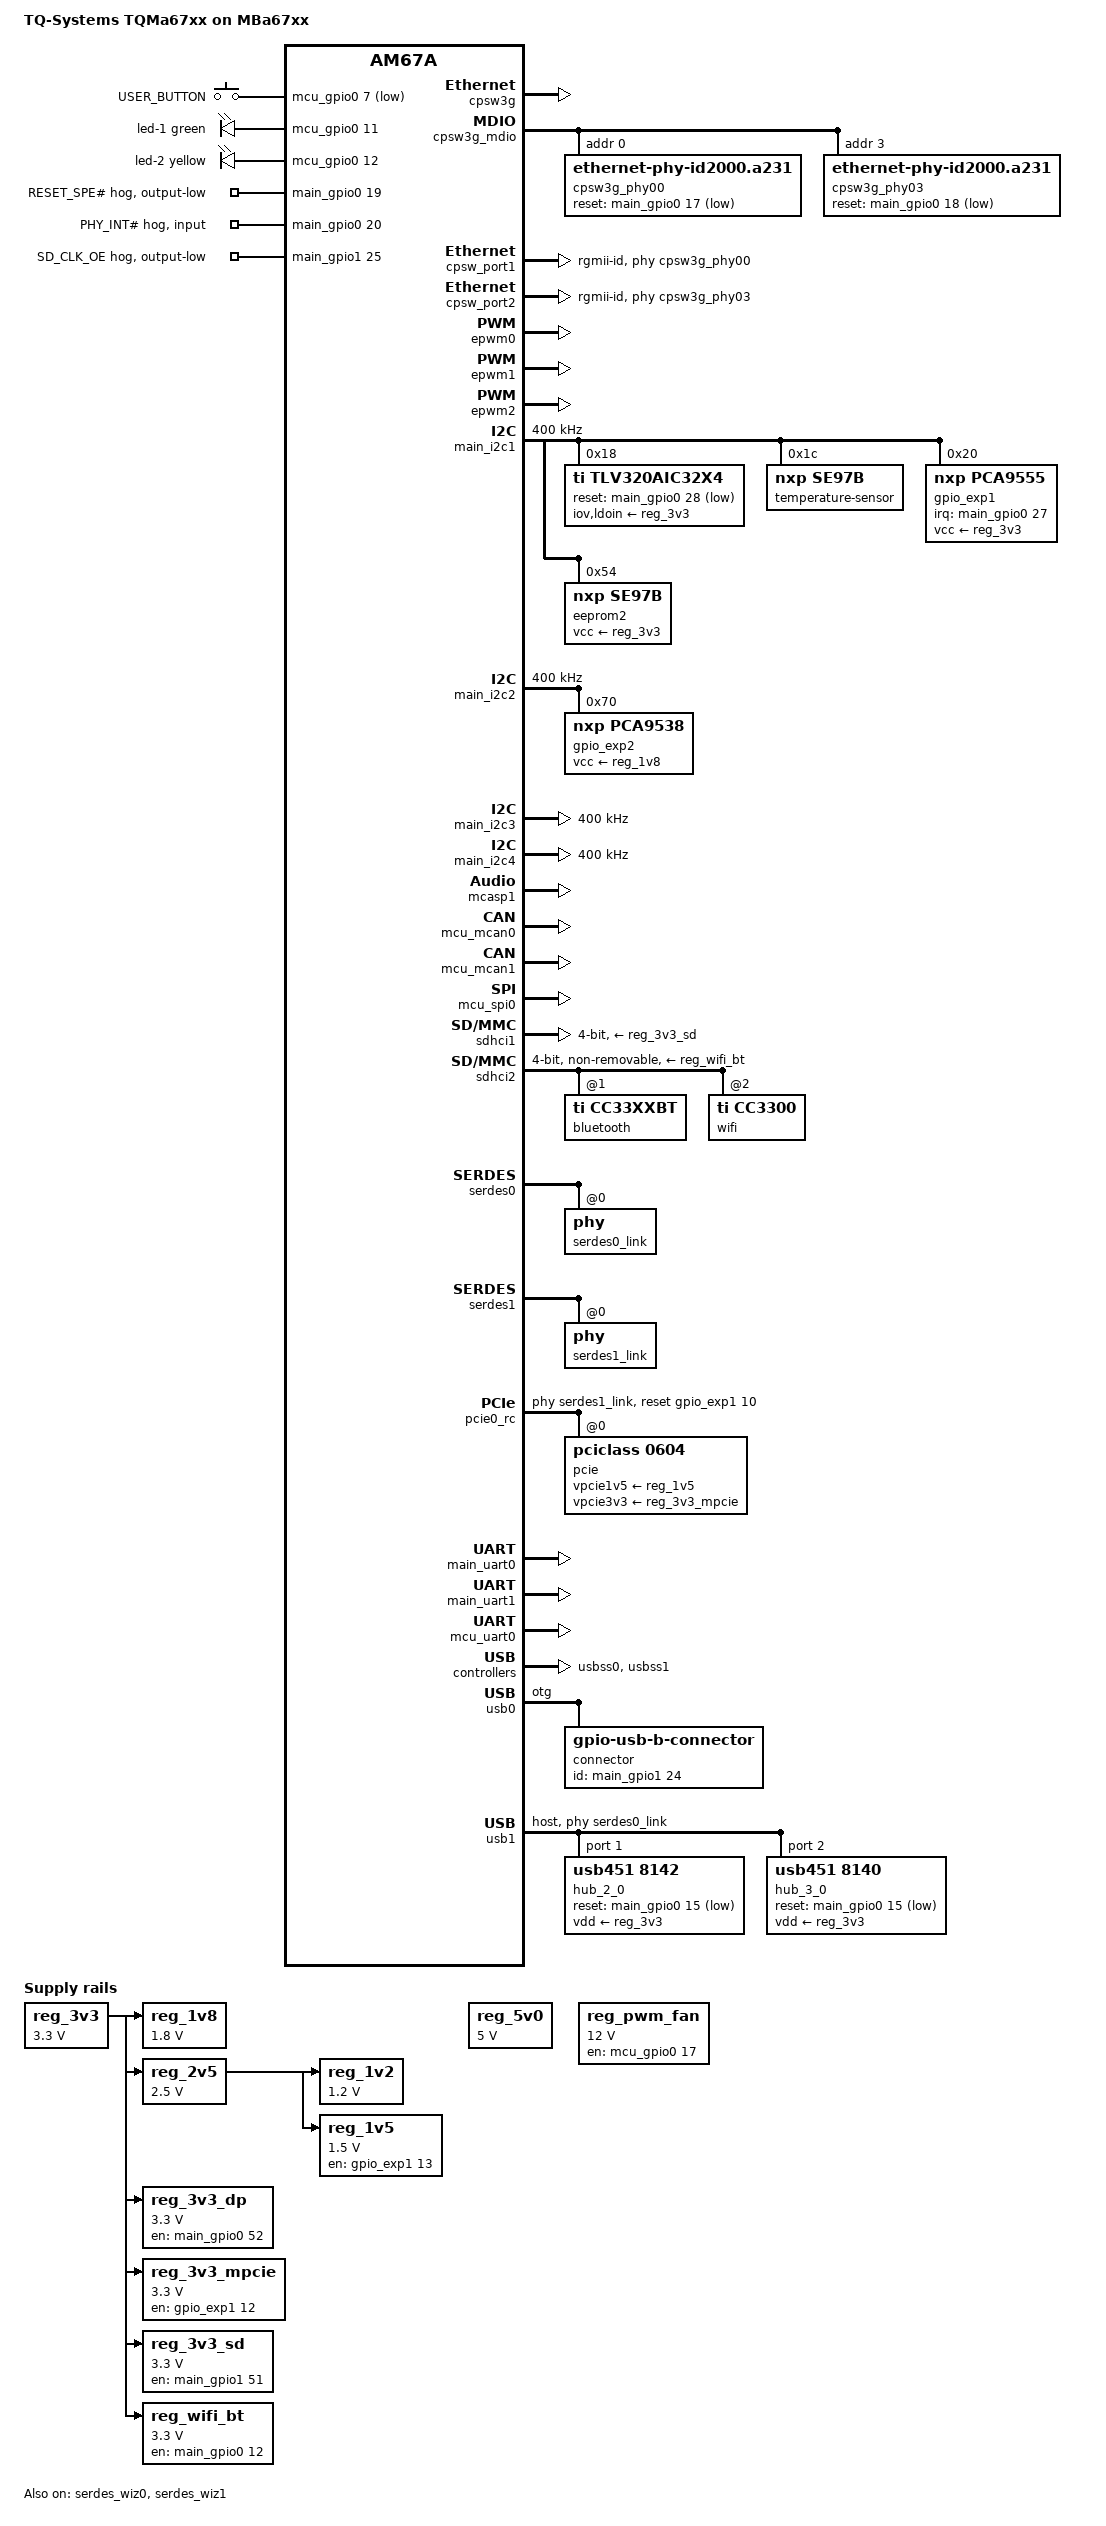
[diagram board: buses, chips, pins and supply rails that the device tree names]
// SPDX-License-Identifier: GPL-2.0-only OR MIT
/*
 * Copyright (C) 2024 Texas Instruments Incorporated - https://www.ti.com/
 * Copyright (c) 2025-2026 TQ-Systems GmbH <linux@ew.tq-group.com>, D-82229 Seefeld, Germany.
 * Author: Nora Schiffer
 */

/dts-v1/;

#include <dt-bindings/input/input.h>
#include <dt-bindings/leds/common.h>
#include <dt-bindings/net/ti-dp83867.h>
#include <dt-bindings/phy/phy.h>
#include <dt-bindings/pwm/pwm.h>
#include "k3-am67a-tqma67xx.dtsi"
#include "k3-serdes.h"

/ {
	compatible = "tq,am67a-tqma6754-mba67xx", "tq,am67a-tqma6754", "ti,j722s";
	model = "TQ-Systems TQMa67xx on MBa67xx";

	aliases {
		can0 = &mcu_mcan0;
		can1 = &mcu_mcan1;
		ethernet0 = &cpsw_port2;
		ethernet1 = &cpsw_port1;
		i2c2 = &main_i2c1;
		i2c3 = &main_i2c2;
		i2c4 = &main_i2c3;
		i2c5 = &main_i2c4;
		mmc1 = &sdhci1;
		serial0 = &main_uart0;
		serial1 = &mcu_uart0;
		serial2 = &main_uart1;
		spi1 = &mcu_spi0;
	};

	chosen {
		stdout-path = &main_uart0;
	};

	backlight: backlight {
		compatible = "pwm-backlight";
		pinctrl-names = "default";
		pinctrl-0 = <&backlight_pins>;
		enable-gpios = <&main_gpio0 22 GPIO_ACTIVE_HIGH>;
		status = "disabled";
	};

	gpio-keys {
		compatible = "gpio-keys";
		pinctrl-names = "default";
		pinctrl-0 = <&gpio_key_pins>;

		user-button {
			label = "USER_BUTTON";
			linux,code = <BTN_0>;
			gpios = <&mcu_gpio0 7 GPIO_ACTIVE_LOW>;
		};
	};

	gpio-leds {
		compatible = "gpio-leds";
		pinctrl-names = "default";
		pinctrl-0 = <&gpio_led_pins>;

		led-1 {
			gpios = <&mcu_gpio0 11 GPIO_ACTIVE_HIGH>;
			color = <LED_COLOR_ID_GREEN>;
			function = LED_FUNCTION_INDICATOR;
		};

		led-2 {
			gpios = <&mcu_gpio0 12 GPIO_ACTIVE_HIGH>;
			color = <LED_COLOR_ID_YELLOW>;
			function = LED_FUNCTION_INDICATOR;
		};
	};

	panel_lvds: panel-lvds {
		pinctrl-names = "default";
		pinctrl-0 = <&lvds_panel_pins>;
		enable-gpios = <&main_gpio0 25 GPIO_ACTIVE_HIGH>;
		reset-gpios = <&main_gpio0 21 GPIO_ACTIVE_LOW>;
		status = "disabled";
	};

	fan0: pwm-fan {
		compatible = "pwm-fan";
		pinctrl-names = "default";
		pinctrl-0 = <&pwm_fan_pins>, <&pwm_fan_mcu_pins>;
		#cooling-cells = <2>;
		/* typical 16 kHz -> 62.500 nsec */
		cooling-levels = <0 32 64 128 196 240>;
		fan-supply = <&reg_pwm_fan>;
		interrupt-parent = <&mcu_gpio0>;
		interrupts = <18 IRQ_TYPE_EDGE_FALLING>;
		pulses-per-revolution = <2>;
		pwms = <&epwm1 0 62500 PWM_POLARITY_INVERTED>;
		status = "disabled";
	};

	reg_1v2: regulator-1v2 {
		/* AP7361E-FGE */
		compatible = "regulator-fixed";
		regulator-min-microvolt = <1200000>;
		regulator-max-microvolt = <1200000>;
		regulator-name = "V_1V2_MBA";
		vin-supply = <&reg_2v5>;
	};

	reg_1v5: regulator-1v5 {
		/* AP7361E-FGE */
		compatible = "regulator-fixed";
		enable-active-high;
		gpio = <&gpio_exp1 13 GPIO_ACTIVE_HIGH>;
		regulator-min-microvolt = <1500000>;
		regulator-max-microvolt = <1500000>;
		regulator-name = "V_1V5_MBA";
		vin-supply = <&reg_2v5>;
	};

	reg_1v8: regulator-1v8 {
		/* TPS62825ADMQ */
		bootph-all;
		compatible = "regulator-fixed";
		regulator-always-on;
		regulator-boot-on;
		regulator-min-microvolt = <1800000>;
		regulator-max-microvolt = <1800000>;
		regulator-name = "V_1V8_MBA";
		vin-supply = <&reg_3v3>;
	};

	reg_2v5: regulator-2v5 {
		/* TPS62825ADMQ */
		compatible = "regulator-fixed";
		regulator-min-microvolt = <2500000>;
		regulator-max-microvolt = <2500000>;
		regulator-name = "V_2V5_MBA";
		vin-supply = <&reg_3v3>;
	};

	reg_3v3: regulator-3v3 {
		/* TPS568330RJE */
		bootph-all;
		compatible = "regulator-fixed";
		regulator-always-on;
		regulator-boot-on;
		regulator-min-microvolt = <3300000>;
		regulator-max-microvolt = <3300000>;
		regulator-name = "V_3V3_MBA";
	};

	reg_3v3_dp: regulator-3v3-dp {
		/* TPS22950YBH */
		compatible = "regulator-fixed";
		pinctrl-names = "default";
		pinctrl-0 = <&reg_3v3_dp_pins>;
		enable-active-high;
		gpio = <&main_gpio0 52 GPIO_ACTIVE_HIGH>;
		regulator-always-on;
		regulator-min-microvolt = <3300000>;
		regulator-max-microvolt = <3300000>;
		regulator-name = "V_3V3_DP";
		vin-supply = <&reg_3v3>;
	};

	reg_3v3_mpcie: regulator-3v3-mpcie {
		/* TPS22950YBH */
		compatible = "regulator-fixed";
		enable-active-high;
		gpio = <&gpio_exp1 12 GPIO_ACTIVE_HIGH>;
		regulator-min-microvolt = <3300000>;
		regulator-max-microvolt = <3300000>;
		regulator-name = "V_3V3_MPCIE";
		vin-supply = <&reg_3v3>;
	};

	reg_3v3_sd: regulator-3v3-sd {
		/* TPS22963CYZTP */
		bootph-all;
		compatible = "regulator-fixed";
		pinctrl-names = "default";
		pinctrl-0 = <&reg_3v3_sd_pins>;
		enable-active-high;
		gpio = <&main_gpio1 51 GPIO_ACTIVE_HIGH>;
		regulator-boot-on;
		regulator-min-microvolt = <3300000>;
		regulator-max-microvolt = <3300000>;
		regulator-name = "V_3V3_SD";
		vin-supply = <&reg_3v3>;
	};

	reg_5v0: regulator-5v0 {
		/* TPS568330RJE */
		bootph-all;
		compatible = "regulator-fixed";
		regulator-always-on;
		regulator-boot-on;
		regulator-min-microvolt = <5000000>;
		regulator-max-microvolt = <5000000>;
		regulator-name = "V_5V0_MBA";
	};

	reg_pwm_fan: regulator-pwm-fan {
		compatible = "regulator-fixed";
		pinctrl-names = "default";
		pinctrl-0 = <&reg_pwm_fan_pins>;
		enable-active-high;
		gpio = <&mcu_gpio0 17 GPIO_ACTIVE_HIGH>;
		regulator-name = "FAN_PWR";
		regulator-min-microvolt = <12000000>;
		regulator-max-microvolt = <12000000>;
	};

	reg_wifi_bt: regulator-wifi-bt {
		compatible = "regulator-fixed";
		pinctrl-names = "default";
		pinctrl-0 = <&reg_wifi_bt_pins>;
		enable-active-high;
		gpio = <&main_gpio0 12 GPIO_ACTIVE_HIGH>;
		regulator-min-microvolt = <3300000>;
		regulator-max-microvolt = <3300000>;
		regulator-name = "WIFI-BT_EN";
		startup-delay-us = <1000>; /* HW init grace period */
		vin-supply = <&reg_3v3>;
	};

	sound: sound {
		compatible = "simple-audio-card";
		simple-audio-card,name = "tqm-tlv320aic32";
		simple-audio-card,widgets =
			"Line Out",	"Line Out",
			"Line In",	"Line In",
			"Microphone",	"Microphone Jack";
		simple-audio-card,routing =
			"Line Out",		"LOL",
			"Line Out",		"LOR",
			"IN1_L",		"Line In",
			"IN1_R",		"Line In",
			"IN3_L",		"Microphone Jack",
			"Microphone Jack",	"Mic Bias";
		simple-audio-card,format = "i2s";
		simple-audio-card,bitclock-master = <&sound_master>;
		simple-audio-card,frame-master = <&sound_master>;

		simple-audio-card,cpu {
			sound-dai = <&mcasp1>;
		};

		sound_master: simple-audio-card,codec {
			sound-dai = <&tlv320aic32x4>;
			clocks = <&audio_refclk1>;
		};
	};
};

&cpsw3g {
	pinctrl-names = "default";
	pinctrl-0 = <&rgmii1_pins &rgmii2_pins>;
	status = "okay";
};

&cpsw3g_mdio {
	pinctrl-names = "default";
	pinctrl-0 = <&mdio_pins>;
	status = "okay";

	cpsw3g_phy00: ethernet-phy@0 {
		compatible = "ethernet-phy-id2000.a231", "ethernet-phy-ieee802.3-c22";
		reg = <0x0>;
		reset-gpios = <&main_gpio0 17 GPIO_ACTIVE_LOW>;
		reset-assert-us = <1000>;
		reset-deassert-us = <1000>;
		ti,fifo-depth = <DP83867_PHYCR_FIFO_DEPTH_4_B_NIB>;
		ti,clk-output-sel = <DP83867_CLK_O_SEL_OFF>;
		/* LED0: 1Gbit/s, LED2: link+activity */
		ti,led-function = <0x0b05>;
		/* LED0/2: active high, driven by PHY function */
		ti,led-ctrl = <0x1414>;
		ti,no-powerdown;
	};

	cpsw3g_phy03: ethernet-phy@3 {
		compatible = "ethernet-phy-id2000.a231", "ethernet-phy-ieee802.3-c22";
		reg = <0x3>;
		reset-gpios = <&main_gpio0 18 GPIO_ACTIVE_LOW>;
		reset-assert-us = <1000>;
		reset-deassert-us = <1000>;
		ti,fifo-depth = <DP83867_PHYCR_FIFO_DEPTH_4_B_NIB>;
		ti,clk-output-sel = <DP83867_CLK_O_SEL_OFF>;
		/* LED0: 1Gbit/s, LED2: link+activity */
		ti,led-function = <0x0b05>;
		/* LED0/2: active high, driven by PHY function */
		ti,led-ctrl = <0x1414>;
		ti,no-powerdown;
	};

	cpsw3g_phy0c: ethernet-phy@c {
		compatible = "ethernet-phy-id2000.a284", "ethernet-phy-ieee802.3-c22";
		reg = <0xc>;
		reset-gpios = <&main_gpio0 19 GPIO_ACTIVE_LOW>;
		reset-assert-us = <1000>;
		reset-deassert-us = <1000>;
		status = "disabled";
	};
};

&cpsw_port1 {
	phy-handle = <&cpsw3g_phy00>;
	phy-mode = "rgmii-id";
	/* Move TI MAC address to cpsw_port2, as that is our primary interface */
	/delete-property/ ti,syscon-efuse;
	status = "okay";
};

&cpsw_port2 {
	phy-handle = <&cpsw3g_phy03>;
	phy-mode = "rgmii-id";
	ti,syscon-efuse = <&cpsw_mac_syscon 0x0>;
	status = "okay";
};

&epwm0 {
	pinctrl-names = "default";
	pinctrl-0 = <&epwm0_ext_pins>;
	status = "okay";
};

&epwm1 {
	pinctrl-names = "default";
	pinctrl-0 = <&epwm1_ext_pins>;
	status = "okay";
};

&epwm2 {
	status = "okay";
};

&main_gpio0 {
	pinctrl-names = "default";
	pinctrl-0 = <&main_gpio0_pins>, <&main_gpio0_ext_pins>;

	hog_reset_rgmii1: line17-hog {
		gpio-hog;
		gpios = <17 GPIO_ACTIVE_HIGH>;
		line-name = "RESET_RGMII1#";
		output-low;
		status = "disabled";
	};
	hog_reset_spe: line19-hog {
		gpio-hog;
		gpios = <19 GPIO_ACTIVE_HIGH>;
		line-name = "RESET_SPE#";
		output-low;
	};

	line20-hog {
		gpio-hog;
		gpios = <20 GPIO_ACTIVE_HIGH>;
		line-name = "PHY_INT#";
		input;
	};

};

&main_gpio1 {
	pinctrl-names = "default";
	pinctrl-0 = <&main_gpio1_pins>;

	hog_sd0_clk_oe: line25-hog {
		gpio-hog;
		gpios = <25 GPIO_ACTIVE_HIGH>;
		line-name = "SD_CLK_OE";
		output-low;
	};
};

&main_i2c1 {
	pinctrl-names = "default";
	pinctrl-0 = <&main_i2c1_pins>;
	clock-frequency = <400000>;
	status = "okay";

	tlv320aic32x4: audio-codec@18 {
		compatible = "ti,tlv320aic32x4";
		reg = <0x18>;
		pinctrl-names = "default";
		pinctrl-0 = <&audio_codec_pins>;
		#sound-dai-cells = <0>;
		clock-names = "mclk";
		clocks = <&audio_refclk1>;
		reset-gpios = <&main_gpio0 28 GPIO_ACTIVE_LOW>;
		iov-supply = <&reg_3v3>;
		ldoin-supply = <&reg_3v3>;
	};

	temperature-sensor@1c {
		compatible = "nxp,se97b", "jedec,jc-42.4-temp";
		reg = <0x1c>;
	};

	gpio_exp1: gpio@20 {
		compatible = "nxp,pca9555";
		reg = <0x20>;
		pinctrl-names = "default";
		pinctrl-0 = <&gpio_exp1_pins>;
		gpio-controller;
		#gpio-cells = <2>;
		interrupt-parent = <&main_gpio0>;
		interrupts = <27 IRQ_TYPE_EDGE_FALLING>;
		interrupt-controller;
		#interrupt-cells = <2>;
		vcc-supply = <&reg_3v3>;

		hog_serdes1_select_pcie: line7-low-hog {
			gpio-hog;
			gpios = <7 GPIO_ACTIVE_HIGH>;
			line-name = "SERDES1_SELECT";
			output-low;
		};

		hog_serdes1_select_sgmii: line7-high-hog {
			gpio-hog;
			gpios = <7 GPIO_ACTIVE_HIGH>;
			line-name = "SERDES1_SELECT";
			output-high;
			status = "disabled";
		};

		hog_mpcie_clk_select: line9-hog {
			gpio-hog;
			gpios = <9 GPIO_ACTIVE_HIGH>;
			line-name = "MPCIE_CLK_SELECT_OE";
			output-low;
		};

		hog_pcie_disable: line11-hog {
			gpio-hog;
			gpios = <11 GPIO_ACTIVE_HIGH>;
			line-name = "PCIE0_DISABLE#";
			output-high;
		};
	};

	eeprom2: eeprom@54 {
		compatible = "nxp,se97b", "atmel,24c02";
		reg = <0x54>;
		pagesize = <16>;
		vcc-supply = <&reg_3v3>;
	};
};

&main_i2c2 {
	pinctrl-names = "default";
	pinctrl-0 = <&main_i2c2_pins>;
	clock-frequency = <400000>;
	status = "okay";

	gpio_exp2: gpio@70 {
		compatible = "nxp,pca9538";
		reg = <0x70>;
		gpio-controller;
		#gpio-cells = <2>;
		vcc-supply = <&reg_1v8>;

		line5-hog {
			gpio-hog;
			gpios = <5 GPIO_ACTIVE_HIGH>;
			line-name = "BRD_CFG0";
			input;
		};

		line6-hog {
			gpio-hog;
			gpios = <6 GPIO_ACTIVE_HIGH>;
			line-name = "BRD_CFG1";
			input;
		};

		line7-hog {
			gpio-hog;
			gpios = <7 GPIO_ACTIVE_HIGH>;
			line-name = "BRD_CFG2";
			input;
		};
	};
};

&main_i2c3 {
	pinctrl-names = "default";
	pinctrl-0 = <&main_i2c3_pins>;
	clock-frequency = <400000>;
	status = "okay";
};

&main_i2c4 {
	pinctrl-names = "default";
	pinctrl-0 = <&main_i2c4_pins>;
	clock-frequency = <400000>;
	status = "okay";
};

&mcasp1 {
	#sound-dai-cells = <0>;
	pinctrl-names = "default";
	pinctrl-0 = <&main_mcasp1_pins>;
	op-mode = <0>; /* MCASP_IIS_MODE */
	tdm-slots = <2>;
	serial-dir = < /* 0: INACTIVE, 1: TX, 2: RX */
	       1 0 2 0
	       0 0 0 0
	       0 0 0 0
	       0 0 0 0
	>;
	status = "okay";
};

&mcu_mcan0 {
	pinctrl-names = "default";
	pinctrl-0 = <&mcu_mcan0_pins>;
	status = "okay";
};

&mcu_mcan1 {
	pinctrl-names = "default";
	pinctrl-0 = <&mcu_mcan1_pins>;
	status = "okay";
};

&mcu_spi0 {
	pinctrl-names = "default";
	pinctrl-0 = <&mcu_spi0_pins>;
	ti,pindir-d0-out-d1-in;
	status = "okay";
};

&reserved_memory {
	linux,cma {
		compatible = "shared-dma-pool";
		reusable;
		/* 512MiB */
		size = <0x00 0x20000000>;
		linux,cma-default;
	};
};

&sdhci1 {
	/* SD/MMC */
	bootph-all;
	pinctrl-names = "default";
	pinctrl-0 = <&sdhci1_pins>;
	bus-width = <4>;
	disable-wp;
	no-mmc;
	no-sdio;
	vmmc-supply = <&reg_3v3_sd>;
	vqmmc-supply = <&reg_vddshv5>;
	ti,driver-strength-ohm = <50>;
	status = "okay";
};

&sdhci2 {
	/* SDIO */
	#address-cells = <1>;
	#size-cells = <0>;
	pinctrl-names = "default";
	pinctrl-0 = <&sdhci2_pins>;
	bus-width = <4>;
	cap-power-off-card;
	keep-power-in-suspend;
	no-mmc;
	no-sd;
	non-removable;
	vmmc-supply = <&reg_wifi_bt>;
	vqmmc-supply = <&reg_1v8>;
	status = "okay";

	bluetooth@1 {
		compatible = "ti,cc33xxbt";
		reg = <1>;
	};

	wifi@2 {
		compatible = "ti,cc3300";
		reg = <0x2>;
	};
};

&serdes_ln_ctrl {
	idle-states = <J722S_SERDES0_LANE0_USB>,
		      <J722S_SERDES1_LANE0_PCIE0_LANE0>;
};

&serdes_wiz0 {
	status = "okay";
};

&serdes_wiz1 {
	status = "okay";
};

&serdes0 {
	status = "okay";

	serdes0_link: phy@0 {
		reg = <0>;
		cdns,num-lanes = <1>;
		#phy-cells = <0>;
		cdns,phy-type = <PHY_TYPE_USB3>;
		resets = <&serdes_wiz0 1>;
	};
};

&serdes1 {
	status = "okay";

	serdes1_link: phy@0 {
		reg = <0>;
		cdns,num-lanes = <1>;
		#phy-cells = <0>;
		cdns,phy-type = <PHY_TYPE_PCIE>;
		resets = <&serdes_wiz1 1>;
	};
};

&pcie0_rc {
	reset-gpios = <&gpio_exp1 10 GPIO_ACTIVE_HIGH>;
	phys = <&serdes1_link>;
	phy-names = "pcie-phy";
	status = "okay";

	pcie@0,0 {
		reg = <0 0 0 0 0>;
		compatible = "pciclass,0604";
		device_type = "pci";
		#address-cells = <3>;
		#size-cells = <2>;
		ranges;
		vpcie1v5-supply = <&reg_1v5>;
		vpcie3v3-supply = <&reg_3v3_mpcie>;
	};
};

&main_uart0 {
	bootph-all;
	pinctrl-names = "default";
	pinctrl-0 = <&main_uart0_pins>;
	status = "okay";
};

&main_uart1 {
	pinctrl-names = "default";
	pinctrl-0 = <&main_uart1_pins>;
	uart-has-rtscts;
	status = "okay";
};

&mcu_uart0 {
	pinctrl-names = "default";
	pinctrl-0 = <&mcu_uart0_pins>;
	rs485-rts-active-low;
	linux,rs485-enabled-at-boot-time;
	status = "okay";
};

&wkup_uart0 {
	/* WKUP UART0 is used by Device Manager firmware */
	bootph-all;
	pinctrl-names = "default";
	pinctrl-0 = <&wkup_uart0_pins>;
	status = "reserved";
};

&usbss0 {
	bootph-all;
	ti,vbus-divider;
	status = "okay";
};

&usb0 {
	bootph-all;
	pinctrl-names = "default";
	pinctrl-0 = <&usb0_pins>;
	dr_mode = "otg";
	usb-role-switch;

	connector {
		compatible = "gpio-usb-b-connector", "usb-b-connector";
		id-gpios = <&main_gpio1 24 GPIO_ACTIVE_HIGH>;
		type = "micro";
	};
};

&usb0_phy_ctrl {
	bootph-all;
};

&usbss1 {
	ti,vbus-divider;
	status = "okay";
};

&usb1 {
	pinctrl-names = "default";
	pinctrl-0 = <&usb1_hub_pins>;
	#address-cells = <1>;
	#size-cells = <0>;
	dr_mode = "host";
	maximum-speed = "super-speed";
	phys = <&serdes0_link>;
	phy-names = "cdns3,usb3-phy";

	hub_2_0: hub@1 {
		compatible = "usb451,8142";
		reg = <1>;
		peer-hub = <&hub_3_0>;
		reset-gpios = <&main_gpio0 15 GPIO_ACTIVE_LOW>;
		vdd-supply = <&reg_3v3>;
	};

	hub_3_0: hub@2 {
		compatible = "usb451,8140";
		reg = <2>;
		peer-hub = <&hub_2_0>;
		reset-gpios = <&main_gpio0 15 GPIO_ACTIVE_LOW>;
		vdd-supply = <&reg_3v3>;
	};
};

&reg_vddshv5 {
	pinctrl-names = "default";
	pinctrl-0 = <&reg_vddshv5_pins>;
	gpios = <&main_gpio1 49 GPIO_ACTIVE_HIGH>;
	status = "okay";
};

&main_pmx0 {
	audio_codec_pins: audio-codec-pins {
		pinctrl-single,pins = <
			J722S_IOPAD(0x0070, PIN_OUTPUT, 7) /* (V24) GPMC0_AD13.GPIO0_28 */
			J722S_IOPAD(0x00a0, PIN_OUTPUT, 1) /* (N24) GPMC0_WPn.AUDIO_EXT_REFCLK1 */
		>;
	};

	backlight_pins: backlight-pins {
		pinctrl-single,pins = <
			J722S_IOPAD(0x0058, PIN_OUTPUT, 7) /* (T22) GPMC0_AD7.GPIO0_22 */
			J722S_IOPAD(0x01b4, PIN_OUTPUT, 2) /* (B20) SPI0_CS0.EHRPWM0_A */
		>;
	};

	csi_clk_pins: csi-clk-pins {
		pinctrl-single,pins = <
			J722S_IOPAD(0x0124, PIN_OUTPUT, 4) /* (F26) MMC2_SDCD.EHRPWM2_A */
			J722S_IOPAD(0x0128, PIN_OUTPUT, 4) /* (H21) MMC2_SDWP.EHRPWM2_B */
		>;
	};

	/* On extension header */
	epwm0_ext_pins: epwm0-ext-pins {
		pinctrl-single,pins = <
			J722S_IOPAD(0x1b8, PIN_OUTPUT, 2) /* (C20) SPI0_CS1.EHRPWM0_B */
		>;
	};

	/* On extension header */
	epwm1_ext_pins: epwm1-ext-pins {
		pinctrl-single,pins = <
			J722S_IOPAD(0x01a0, PIN_OUTPUT, 6) /* (F23) MCASP0_AXR0.EHRPWM1_B */
		>;
	};

	lvds_panel_pins: lvds-panel-pins {
		pinctrl-single,pins = <
			J722S_IOPAD(0x0054, PIN_OUTPUT, 7) /* (T21) GPMC0_AD6.GPIO0_21 */
			J722S_IOPAD(0x0064, PIN_OUTPUT, 7) /* (V27) GPMC0_AD10.GPIO0_25 */
		>;
	};

	gpio_exp1_pins: gpio-exp1-pins {
		pinctrl-single,pins = <
			J722S_IOPAD(0x006c, PIN_INPUT, 7) /* (V26) GPMC0_AD12.GPIO0_27 */
		>;
	};

	main_gpio0_pins: main-gpio0-pins {
		pinctrl-single,pins = <
			/* PHY reset pins are muxed here, as they may be either assigned to a PHY
			 * or hogged
			 */

			/* RESET_RGMII1# */
			J722S_IOPAD(0x0044, PIN_OUTPUT, 7) /* (R26) GPMC0_AD2.GPIO0_17 */
			/* RESET_RGMII2# */
			J722S_IOPAD(0x0048, PIN_OUTPUT, 7) /* (T27) GPMC0_AD3.GPIO0_18 */
			/* RESET_SPE# */
			J722S_IOPAD(0x004c, PIN_OUTPUT, 7) /* (T25) GPMC0_AD4.GPIO0_19 */

			/* PHY_INT# */
			J722S_IOPAD(0x0050, PIN_INPUT, 7) /* (T24) GPMC0_AD5.GPIO0_20 */

			/* DSI0_EN */
			J722S_IOPAD(0x0068, PIN_OUTPUT, 7) /* (V25) GPMC0_AD11.GPIO0_26 */
		>;
	};

	/* Extension header pins */
	main_gpio0_ext_pins: main-gpio0-ext-pins {
		pinctrl-single,pins = <
			J722S_IOPAD(0x0088, PIN_INPUT, 7) /* (N22) GPMC0_OEn_REn.GPIO0_33 */
			J722S_IOPAD(0x0094, PIN_INPUT, 7) /* (P26) GPMC0_BE1n.GPIO0_36 */
			J722S_IOPAD(0x009c, PIN_INPUT, 7) /* (W26) GPMC0_WAIT1.GPIO0_38 */
			J722S_IOPAD(0x00a4, PIN_INPUT, 7) /* (N25) GPMC0_DIR.GPIO0_40 */
			J722S_IOPAD(0x00b8, PIN_INPUT, 7) /* (W27) VOUT0_DATA0.GPIO0_45 */
			J722S_IOPAD(0x00bc, PIN_INPUT, 7) /* (W25) VOUT0_DATA1.GPIO0_46 */
			J722S_IOPAD(0x00c0, PIN_INPUT, 7) /* (W24) VOUT0_DATA2.GPIO0_47 */
			J722S_IOPAD(0x00c4, PIN_INPUT, 7) /* (W23) VOUT0_DATA3.GPIO0_48 */
			J722S_IOPAD(0x00c8, PIN_INPUT, 7) /* (W22) VOUT0_DATA4.GPIO0_49 */
			J722S_IOPAD(0x00cc, PIN_INPUT, 7) /* (W21) VOUT0_DATA5.GPIO0_50 */
			J722S_IOPAD(0x00d0, PIN_INPUT, 7) /* (Y26) VOUT0_DATA6.GPIO0_51 */
		>;
	};

	main_gpio1_pins: main-gpio1-pins {
		pinctrl-single,pins = <
			J722S_IOPAD(0x01dc, PIN_OUTPUT, 7) /* (C22) MCAN0_RX.GPIO1_24 */
		>;
	};

	main_i2c1_pins: main-i2c1-pins {
		pinctrl-single,pins = <
			J722S_IOPAD(0x01e8, PIN_INPUT, 0) /* (C24) I2C1_SCL */
			J722S_IOPAD(0x01ec, PIN_INPUT, 0) /* (A22) I2C1_SDA */
		>;
	};

	main_i2c2_pins: main-i2c2-pins {
		pinctrl-single,pins = <
			J722S_IOPAD(0x00b0, PIN_INPUT_PULLUP, 1) /* (P22) GPMC0_CSn2.I2C2_SCL */
			J722S_IOPAD(0x00b4, PIN_INPUT_PULLUP, 1) /* (P23) GPMC0_CSn3.I2C2_SDA */
		>;
	};

	main_i2c3_pins: main-i2c3-pins {
		pinctrl-single,pins = <
			J722S_IOPAD(0x01d0, PIN_INPUT, 2) /* (E22) UART0_CTSn.I2C3_SCL */
			J722S_IOPAD(0x01d4, PIN_INPUT, 2) /* (B21) UART0_RTSn.I2C3_SDA */
		>;
	};

	main_i2c4_pins: main-i2c4-pins {
		pinctrl-single,pins = <
			J722S_IOPAD(0x00a8, PIN_INPUT_PULLUP, 1) /* (R27) GPMC0_CSn0.I2C4_SCL */
			J722S_IOPAD(0x00ac, PIN_INPUT_PULLUP, 1) /* (P12) GPMC0_CSn1.I2C4_SDA */
		>;
	};

	main_mcasp1_pins: main-mcasp1-pins {
		pinctrl-single,pins = <
			J722S_IOPAD(0x0090, PIN_INPUT, 2) /* (P27) GPMC0_BE0n_CLE.MCASP1_ACLKX */
			J722S_IOPAD(0x0098, PIN_INPUT, 2) /* (V21) GPMC0_WAIT0.MCASP1_AFSX */
			J722S_IOPAD(0x008c, PIN_OUTPUT, 2) /* (N23) GPMC0_WEn.MCASP1_AXR0 */
			J722S_IOPAD(0x0084, PIN_INPUT, 2) /* (N21) GPMC0_ADVn_ALE.MCASP1_AXR2 */
		>;
	};

	main_uart0_pins: main-uart0-pins {
		bootph-all;
		pinctrl-single,pins = <
			J722S_IOPAD(0x01c8, PIN_INPUT, 0)	/* (F19) UART0_RXD */
			J722S_IOPAD(0x01cc, PIN_OUTPUT, 0)	/* (F20) UART0_TXD */
		>;
	};

	/* On extension header */
	main_uart1_pins: main-uart1-pins {
		pinctrl-single,pins = <
			J722S_IOPAD(0x0194, PIN_INPUT, 2)	/* (A25) MCASP0_AXR3.UART1_CTS# */
			J722S_IOPAD(0x0198, PIN_OUTPUT, 2)	/* (A26) MCASP0_AXR2.UART1_RTS# */
			J722S_IOPAD(0x01ac, PIN_INPUT, 2)	/* (C27) MCASP0_AFSR.UART1_RXD */
			J722S_IOPAD(0x01b0, PIN_OUTPUT, 2)	/* (F24) MCASP0_ACLKR.UART1_TXD */
		>;
	};

	/* Alternative interface for Bluetooth - unused */
	main_uart2_pins: main-uart2-pins {
		pinctrl-single,pins = <
			J722S_IOPAD(0x0074, PIN_INPUT, 8)	/* (V22) GPMC0_AD14.UART2_CTS# */
			J722S_IOPAD(0x0078, PIN_OUTPUT, 8)	/* (V23) GPMC0_AD15.UART2_RTS# */
			J722S_IOPAD(0x005c, PIN_INPUT, 2)	/* (U27) GPMC0_AD8.UART2_RXD */
			J722S_IOPAD(0x0060, PIN_OUTPUT, 2)	/* (U26) GPMC0_AD9.UART2_TXD */
		>;
	};

	mdio_pins: mdio-pins {
		pinctrl-single,pins = <
			J722S_IOPAD(0x0160, PIN_OUTPUT, 0) /* (AC24) MDIO0_MDC */
			J722S_IOPAD(0x015c, PIN_INPUT, 0) /* (AD25) MDIO0_MDIO */
		>;
	};

	pwm_fan_pins: pwm-fan-pins {
		pinctrl-single,pins = <
			/* (B25) MCASP0_AXR1.EHRPWM1_A - FAN_PWM */
			J722S_IOPAD(0x019c, PIN_OUTPUT, 6)
		>;
	};

	reg_3v3_dp_pins: reg-3v3-dp-pins {
		pinctrl-single,pins = <
			J722S_IOPAD(0x00d4, PIN_OUTPUT, 7) /* (Y27) VOUT0_DATA7.GPIO0_52 */
		>;
	};

	reg_3v3_sd_pins: reg-3v3-sd-pins {
		pinctrl-single,pins = <
			J722S_IOPAD(0x0258, PIN_OUTPUT, 7) /* (B27) USB1_DRVVBUS.GPIO1_51 */
		>;
	};

	reg_wifi_bt_pins: reg-wifi-bt-pins {
		pinctrl-single,pins = <
			/* WIFI-BT_EN */
			J722S_IOPAD(0x0030, PIN_OUTPUT, 7) /* (K23) OSPI0_CSn1.GPIO0_12 */
		>;
	};

	reg_vddshv5_pins: reg-vddshv5-pins {
		pinctrl-single,pins = <
			J722S_IOPAD(0x0244, PIN_OUTPUT, 7) /* (A24) MMC1_SDWP.GPIO1_49 */
		>;
	};

	rgmii1_pins: rgmii1-pins {
		pinctrl-single,pins = <
			J722S_IOPAD(0x014c, PIN_INPUT, 0) /* (AC25) RGMII1_RD0 */
			J722S_IOPAD(0x0150, PIN_INPUT, 0) /* (AD27) RGMII1_RD1 */
			J722S_IOPAD(0x0154, PIN_INPUT, 0) /* (AE24) RGMII1_RD2 */
			J722S_IOPAD(0x0158, PIN_INPUT, 0) /* (AE26) RGMII1_RD3 */
			J722S_IOPAD(0x0148, PIN_INPUT, 0) /* (AE27) RGMII1_RXC */
			J722S_IOPAD(0x0144, PIN_INPUT, 0) /* (AD23) RGMII1_RX_CTL */
			J722S_IOPAD(0x0134, PIN_OUTPUT, 0) /* (AF27) RGMII1_TD0 */
			J722S_IOPAD(0x0138, PIN_OUTPUT, 0) /* (AE23) RGMII1_TD1 */
			J722S_IOPAD(0x013c, PIN_OUTPUT, 0) /* (AG25) RGMII1_TD2 */
			J722S_IOPAD(0x0140, PIN_OUTPUT, 0) /* (AF24) RGMII1_TD3 */
			J722S_IOPAD(0x0130, PIN_OUTPUT, 0) /* (AG26) RGMII1_TXC */
			J722S_IOPAD(0x012c, PIN_OUTPUT, 0) /* (AF25) RGMII1_TX_CTL */
		>;
	};

	rgmii2_pins: rgmii2-pins {
		pinctrl-single,pins = <
			J722S_IOPAD(0x00f8, PIN_INPUT, 2) /* (AB24) VOUT0_HSYNC.RGMII2_RD0 */
			J722S_IOPAD(0x00fc, PIN_INPUT, 2) /* (AC27) VOUT0_DE.RGMII2_RD1 */
			J722S_IOPAD(0x0100, PIN_INPUT, 2) /* (AB23) VOUT0_VSYNC.RGMII2_RD2 */
			J722S_IOPAD(0x0104, PIN_INPUT, 2) /* (AC26) VOUT0_PCLK.RGMII2_RD3 */
			J722S_IOPAD(0x00f4, PIN_INPUT, 2) /* (AB27) VOUT0_DATA15.RGMII2_RXC */
			J722S_IOPAD(0x00f0, PIN_INPUT, 2) /* (AB26) VOUT0_DATA14.RGMII2_RX_CTL */
			J722S_IOPAD(0x00e0, PIN_OUTPUT, 2) /* (AA25) VOUT0_DATA10.RGMII2_TD0 */
			J722S_IOPAD(0x00e4, PIN_OUTPUT, 2) /* (AB25) VOUT0_DATA11.RGMII2_TD1 */
			J722S_IOPAD(0x00e8, PIN_OUTPUT, 2) /* (AA23) VOUT0_DATA12.RGMII2_TD2 */
			J722S_IOPAD(0x00ec, PIN_OUTPUT, 2) /* (AA22) VOUT0_DATA13.RGMII2_TD3 */
			J722S_IOPAD(0x00dc, PIN_OUTPUT, 2) /* (AA27) VOUT0_DATA9.RGMII2_TXC */
			J722S_IOPAD(0x00d8, PIN_OUTPUT, 2) /* (AA24) VOUT0_DATA8.RGMII2_TX_CTL */
		>;
	};

	sdhci1_pins: sdhci1-pins {
		bootph-all;
		pinctrl-single,pins = <
			J722S_IOPAD(0x023c, PIN_INPUT, 0) /* (H22) MMC1_CMD */
			J722S_IOPAD(0x0234, PIN_OUTPUT, 0) /* (H24) MMC1_CLK */
			J722S_IOPAD(0x0230, PIN_INPUT, 0) /* (H23) MMC1_DAT0 */
			J722S_IOPAD(0x022c, PIN_INPUT_PULLUP, 0) /* (H20) MMC1_DAT1 */
			J722S_IOPAD(0x0228, PIN_INPUT_PULLUP, 0) /* (J23) MMC1_DAT2 */
			J722S_IOPAD(0x0224, PIN_INPUT_PULLUP, 0) /* (H25) MMC1_DAT3 */
			J722S_IOPAD(0x0240, PIN_INPUT, 0) /* (B24) MMC1_SDCD */
		>;
	};

	sdhci2_pins: sdhci2-pins {
		pinctrl-single,pins = <
			J722S_IOPAD(0x0120, PIN_INPUT, 0) /* (F27) MMC2_CMD */
			J722S_IOPAD(0x0118, PIN_OUTPUT, 0) /* (H26) MMC2_CLK */
			J722S_IOPAD(0x011c, PIN_INPUT, 0) /* () MMC2_CLKLB */
			J722S_IOPAD(0x0114, PIN_INPUT, 0) /* (G26) MMC2_DAT0 */
			J722S_IOPAD(0x0110, PIN_INPUT_PULLUP, 0) /* (G27) MMC2_DAT1 */
			J722S_IOPAD(0x010c, PIN_INPUT_PULLUP, 0) /* (H27) MMC2_DAT2 */
			J722S_IOPAD(0x0108, PIN_INPUT_PULLUP, 0) /* (J27) MMC2_DAT3 */
		>;
	};

	usb0_pins: usb0-pins {
		bootph-all;
		pinctrl-single,pins = <
			J722S_IOPAD(0x0254, PIN_OUTPUT, 0) /* (E25) USB0_DRVVBUS */
			J722S_IOPAD(0x01d8, PIN_INPUT, 7) /* (D22) MCAN0_TX.GPIO1_24 */
		>;
	};

	usb1_hub_pins: usb1-hub-pins {
		pinctrl-single,pins = <
			J722S_IOPAD(0x003c, PIN_OUTPUT, 7) /* (R22) GPMC0_AD0.GPIO0_15 */
		>;

	};
};

&mcu_pmx0 {
	gpio_key_pins: gpio-key-pins {
		pinctrl-single,pins = <
			J722S_MCU_IOPAD(0x001c, PIN_INPUT, 7) /* (B5) MCU_UART0_CTSn.MCU_GPIO0_7 */
		>;
	};

	gpio_led_pins: gpio-led-pins {
		pinctrl-single,pins = <
			J722S_MCU_IOPAD(0x002c, PIN_OUTPUT, 7) /* (C4) WKUP_UART0_CTSn.MCU_GPIO0_11 */
			J722S_MCU_IOPAD(0x0030, PIN_OUTPUT, 7) /* (C3) WKUP_UART0_RTSn.MCU_GPIO0_12 */
		>;
	};

	mcu_mcan0_pins: mcu-mcan0-pins {
		pinctrl-single,pins = <
			J722S_MCU_IOPAD(0x0038, PIN_INPUT, 0) /* (D8) MCU_MCAN0_RX */
			J722S_MCU_IOPAD(0x0034, PIN_OUTPUT, 0) /* (B2) MCU_MCAN0_TX */
		>;
	};

	mcu_mcan1_pins: mcu-mcan1-pins {
		pinctrl-single,pins = <
			J722S_MCU_IOPAD(0x0040, PIN_INPUT, 0) /* (B1) MCU_MCAN1_RX */
			J722S_MCU_IOPAD(0x003C, PIN_OUTPUT, 0) /* (C1) MCU_MCAN1_TX */
		>;
	};

	/* On extension header */
	mcu_spi0_pins: mcu-spi0-pins {
		pinctrl-single,pins = <
			J722S_MCU_IOPAD(0x0008, PIN_OUTPUT, 0) /* (A9) MCU_SPI0_CLK */
			J722S_MCU_IOPAD(0x000c, PIN_OUTPUT, 0) /* (B12) MCU_SPI0_D0 */
			J722S_MCU_IOPAD(0x0010, PIN_INPUT, 0) /* (C11) MCU_SPI0_D1 */
			J722S_MCU_IOPAD(0x0000, PIN_OUTPUT, 0) /* (C12) MCU_SPI0_CS0 */
			J722S_MCU_IOPAD(0x0004, PIN_OUTPUT, 0) /* (A10) MCU_SPI0_CS1 */
		>;
	};

	mcu_uart0_pins: mcu-uart0-pins {
		pinctrl-single,pins = <
			J722S_MCU_IOPAD(0x0020, PIN_OUTPUT, 0)	/* (C5) MCU_UART0_RTSn */
			J722S_MCU_IOPAD(0x0014, PIN_INPUT, 0)	/* (B8) MCU_UART0_RXD */
			J722S_MCU_IOPAD(0x0018, PIN_OUTPUT, 0)	/* (B4) MCU_UART0_TXD */
		>;
	};

	pwm_fan_mcu_pins: pwm-fan-mcu-pins {
		pinctrl-single,pins = <
			/* (E11) MCU_I2C0_SDA.MCU_GPIO0_18 - FAN_RPM */
			J722S_MCU_IOPAD(0x0048, PIN_INPUT, 7)
		>;
	};

	reg_pwm_fan_pins: reg-pwm-fan-pins {
		pinctrl-single,pins = <
			/* (B13) MCU_I2C0_SCL.MCU_GPIO0_17 - FAN_PWR */
			J722S_MCU_IOPAD(0x0044, PIN_OUTPUT, 7)
		>;
	};

	wkup_uart0_pins: wkup-uart0-pins {
		bootph-all;
		pinctrl-single,pins = <
			J722S_MCU_IOPAD(0x0024, PIN_INPUT, 0)	/* (B3) WKUP_UART0_RXD */
			J722S_MCU_IOPAD(0x0028, PIN_OUTPUT, 0)	/* (C8) WKUP_UART0_TXD */
		>;
	};
};
